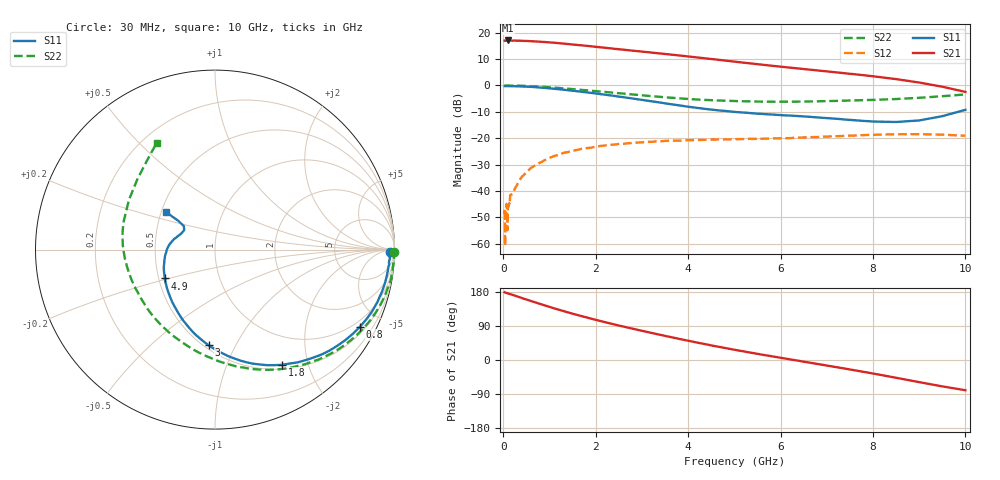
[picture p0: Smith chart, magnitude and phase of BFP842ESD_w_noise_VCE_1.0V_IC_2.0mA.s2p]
! Infineon Technologies  Discrete & RF Semiconductors
! BFP842ESD
! VCE =  1.0 V,  IC =  2.0 mA
! Common Emitter S-Parameters:  May 2012
# GHz  S  MA  R  50
!  f  S11  S21  S12  S22
! GHz  MAG  ANG  MAG  ANG  MAG  ANG  MAG  ANG
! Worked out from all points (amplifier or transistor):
!   99 points, 30 MHz to 10 GHz, reference 50 ohm
!   highest |S21| = 17.1 dB at 110 MHz (marker M1)
!   |S21| within 3 dB of that: start of sweep to 2.325 GHz
!   unconditionally stable (mu >= 1): 4.079 GHz to end of sweep
!   at 350 MHz: K = 0.09, MSG = 26.5 dB, |S12| = -36.0 dB
!   at 3.5 GHz: K = 0.84, MSG = 16.5 dB, |S12| = -21.0 dB
!   at 10 GHz: K = 2.70, MAG = 1.2 dB, |S12| = -19.1 dB
!   lowest NFmin = 0.35 dB at 450 MHz
!   S11 on the Smith chart (normalised r, x): 30 MHz: 61, -35; 800 MHz: 0.73, -3.87; 1.8 GHz: 0.56, -1.60; 3 GHz: 0.53, -0.79; 4.9 GHz: 0.54, -0.19; 10 GHz: 0.53, +0.25
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0.03  0.9756 -0.8  7.084 178.8  0.0044 90.7  0.9982 -0.7
0.04  0.9758 -1.5  7.056 178.2  0.0009 82.9  0.9989 -1.0
0.05  0.9705 -1.9  7.02 177.6  0.0043 139.6  1 -1.6
0.08  0.976 -3.0  7.097 176.4  0.005 80.6  0.9961 -2.4
0.09  0.9745 -3.4  7.007 176.4  0.0018 56.4  0.9983 -2.7
0.1  0.9724 -3.6  7.069 176.0  0.0047 68.4  0.9985 -3.2
0.11  0.972 -4.0  7.14 175.3  0.0051 96.3  0.9968 -3.3
0.15  0.9714 -5.4  7.115 173.8  0.0084 88.2  0.9962 -4.5
0.5  0.9513 -17.8  6.994 159.7  0.0225 76.8  0.9799 -15.6
0.8  0.9146 -28.1  6.748 147.8  0.0345 66.6  0.9504 -24.6
1.2  0.85 -41.5  6.344 132.8  0.0488 55.8  0.898 -36.1
1.7  0.7589 -56.8  5.758 115.6  0.063 45.3  0.8238 -49.5
1.8  0.7423 -59.8  5.652 112.5  0.0648 42.6  0.8111 -52.0
2.4  0.6353 -77.0  4.965 94.0  0.0757 31.8  0.7281 -67.0
3  0.5345 -93.8  4.391 77.1  0.0835 22.8  0.6523 -81.4
3.4  0.474 -105.3  4.043 66.4  0.0873 17.3  0.6075 -91.4
4.1  0.3859 -126.3  3.476 48.4  0.0921 8.8  0.549 -109.3
4.9  0.3225 -150.1  2.901 29.4  0.095 1.2  0.5112 -129.1
5.1  0.3112 -155.6  2.771 24.9  0.0963 -0.9  0.505 -133.9
6.7  0.2518 172.4  1.969 -8.4  0.1052 -13.1  0.4997 -169.5
8.5  0.2032 147.6  1.321 -46.9  0.1189 -34.0  0.5538 150.0
10  0.3456 142.6  0.756 -79.8  0.1114 -58.7  0.6763 118.8
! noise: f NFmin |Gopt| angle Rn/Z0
0.45  0.35  0.77  2  0.27
0.9  0.37  0.74  10  0.25
1.5  0.41  0.67  29  0.22
1.9  0.43  0.65  37  0.2
2.4  0.49  0.63  49  0.18
3.5  0.65  0.5  82  0.13
4  0.73  0.45  102  0.11
5  0.87  0.42  123  0.07
5.5  1.01  0.41  138  0.07
6  1.25  0.38  155  0.07
